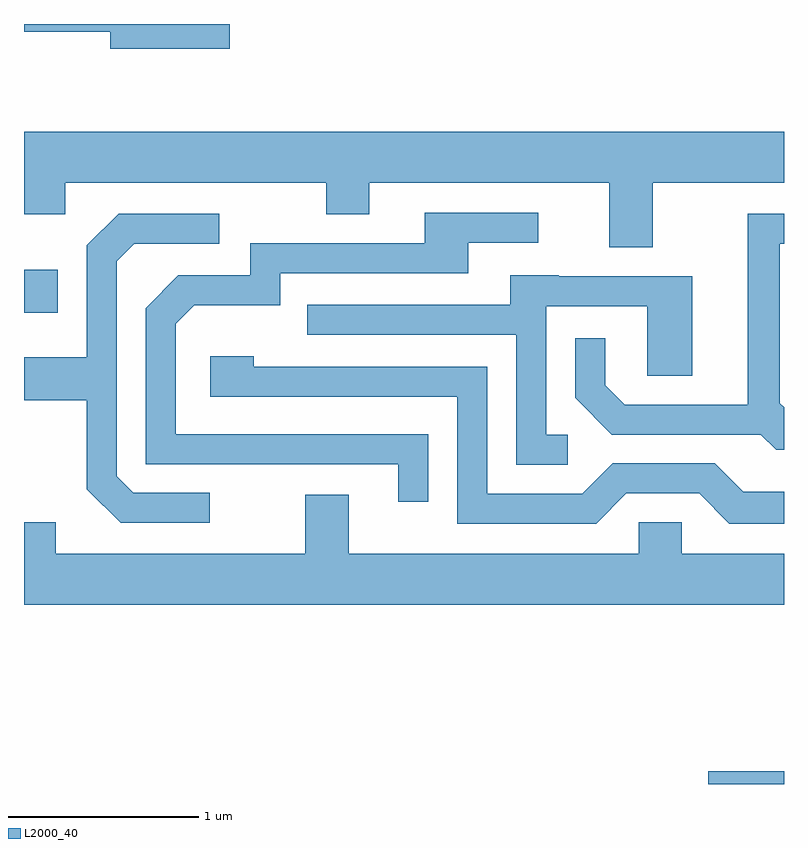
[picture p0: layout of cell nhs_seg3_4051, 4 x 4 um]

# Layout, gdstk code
import gdstk
lib = gdstk.Library(unit=1e-6, precision=1e-09)
def R(c, l, rs):  # rectangles x0, y0, x1, y1
    for r in rs: c.add(gdstk.rectangle(r[:2], r[2:], *l))
def P(c, l, *ps):  # polygons
    for p in ps: c.add(gdstk.Polygon(p, *l))
L2000_40 = (2000, 40)

nhs_seg3_4051 = lib.new_cell('nhs_seg3_4051')
R(nhs_seg3_4051, L2000_40, [(307.211,1193.892,307.611,1193.959), (303.611,1196.371,303.789,1196.599)])
P(nhs_seg3_4051, L2000_40, [(304.694,1197.892),(303.611,1197.892),(303.611,1197.851),(304.066,1197.851),(304.066,1197.761),(304.694,1197.761)],
  [(303.611,1196.891),(303.829,1196.891),(303.829,1197.056),(305.201,1197.056),(305.201,1196.891),(305.429,1196.891),(305.429,1197.056),(306.691,1197.056),(306.691,1196.716),(306.919,1196.716),(306.919,1197.056),(307.611,1197.056),(307.611,1197.324),(303.611,1197.324)],
  [(305.739,1195.734),(304.409,1195.734),(304.409,1196.314),(304.507,1196.411),(304.959,1196.411),(304.959,1196.581),(305.949,1196.581),(305.949,1196.741),(306.318,1196.741),(306.318,1196.899),(305.721,1196.899),(305.721,1196.739),(304.801,1196.739),(304.801,1196.569),(304.424,1196.569),(304.251,1196.397),(304.251,1195.576),(305.581,1195.576),(305.581,1195.378),(305.739,1195.378)],
  [(307.611,1195.875),(307.589,1195.897),(307.589,1196.736),(307.611,1196.736),(307.611,1196.894),(307.421,1196.894),(307.421,1195.889),(306.772,1195.889),(306.669,1195.992),(306.669,1196.238),(306.511,1196.238),(306.511,1195.924),(306.704,1195.731),(307.489,1195.731),(307.569,1195.651),(307.611,1195.651)],
  [(304.588,1195.424),(304.187,1195.424),(304.099,1195.512),(304.099,1196.644),(304.192,1196.736),(304.638,1196.736),(304.638,1196.894),(304.109,1196.894),(303.941,1196.727),(303.941,1196.139),(303.611,1196.139),(303.611,1195.911),(303.941,1195.911),(303.941,1195.444),(304.119,1195.266),(304.588,1195.266)],
  [(306.473,1195.729),(306.359,1195.729),(306.359,1196.406),(306.891,1196.406),(306.891,1196.041),(307.129,1196.041),(307.129,1196.564),(306.425,1196.564),(306.425,1196.569),(306.171,1196.569),(306.171,1196.414),(305.103,1196.414),(305.103,1196.256),(306.201,1196.256),(306.201,1195.571),(306.473,1195.571)],
  [(306.782,1195.421),(307.164,1195.421),(307.324,1195.261),(307.611,1195.261),(307.611,1195.429),(307.397,1195.429),(307.247,1195.579),(306.709,1195.579),(306.549,1195.419),(306.049,1195.419),(306.049,1196.089),(304.819,1196.089),(304.819,1196.144),(304.591,1196.144),(304.591,1195.931),(305.891,1195.931),(305.891,1195.261),(306.622,1195.261)],
  [(307.611,1195.104),(307.074,1195.104),(307.074,1195.269),(306.846,1195.269),(306.846,1195.104),(305.319,1195.104),(305.319,1195.414),(305.091,1195.414),(305.091,1195.104),(303.779,1195.104),(303.779,1195.269),(303.611,1195.269),(303.611,1194.836),(307.611,1194.836)])

lib.write_gds('nhs_seg3_4051.gds')
